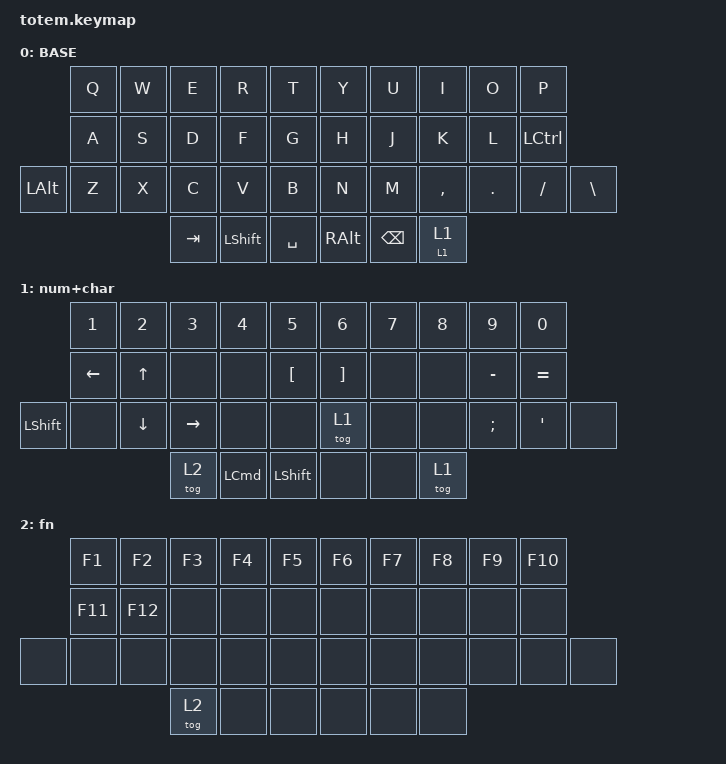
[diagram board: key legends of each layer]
//
//                                                        ▀▀▀▀▀     ▀▀▀▀▀          ▀▀█▀▀
//                                                        ▄▀▀▀▄  ▄  ▄▀▀▀▄  ▄  ▄▀▀▀▄  █  ▄▀▀▀▄
//                                                        █   █  █  █   █  █  █   █  █  █   █
//                                                         ▀▀▀   █   ▀▀▀   █   ▀▀▀   ▀   ▀▀▀
//                                                               █      ▄▄▄█▄▄▄    █   █  
//                                                               ▀      █  █  █     █▄█
//                                                             ▀▀▀▀▀    █  █  █      ▀
//                                                                      ▀  ▀  ▀
//
// ▄▄▄▄▄▄▄▄▄▄▄▄▄▄▄▄▄▄▄▄▄▄▄▄▄▄▄▄▄▄▄▄▄▄▄▄▄▄▄▄▄▄▄▄▄▄▄▄▄▄▄▄▄▄▄▄▄▄▄▄▄▄▄▄▄▄▄▄▄▄▄▄▄▄▄▄▄▄▄▄▄▄▄▄▄▄▄▄▄▄▄▄▄▄▄▄▄▄▄▄▄▄▄▄▄▄▄▄▄▄▄▄▄▄▄▄▄▄▄▄▄▄▄▄▄▄▄▄▄▄▄▄▄▄▄▄▄▄▄▄▄▄▄▄▄▄▄▄▄

#include <behaviors.dtsi>
#include <dt-bindings/zmk/keys.h>

#define BASE 0
#define NAV  1
#define SYM  2
#define ADJ  3
#define TVP1 4
#define TVP2 5

/ {
    combos {
        compatible = "zmk,combos";

        combo_esc {
            timeout-ms = <50>;
            key-positions = <1 0>;
            bindings = <&kp ESC>;
        };

        combo_tvp {
            timeout-ms = <100>;
            key-positions = <11 12 10>;
            bindings = <&kp LEFT_COMMAND>;
        };

        enter {
            bindings = <&kp KP_ENTER>;
            key-positions = <17 18 19>;
            timeout-ms = <100>;
        };
    };

    behaviors {
        togleandmo: togleandmo {
            compatible = "zmk,behavior-hold-tap";
            label = "TOGLEANDMO";
            bindings = <&mo>, <&tog>;

            #binding-cells = <2>;
            tapping-term-ms = <150>;
        };
    };

    keymap {
        compatible = "zmk,keymap";

        // ▄▄▄▄▄▄▄▄▄▄▄▄▄▄▄▄▄▄▄▄▄▄▄▄▄▄▄▄▄▄▄▄▄▄▄▄▄▄▄▄▄▄▄▄▄▄▄▄▄▄▄▄▄▄▄▄▄▄▄▄▄▄▄▄▄▄▄▄▄▄▄▄▄▄▄▄▄▄▄▄▄▄▄▄▄▄▄▄▄▄▄▄▄▄▄▄▄▄▄▄▄▄▄▄▄▄▄▄▄▄▄▄▄▄▄▄▄▄▄▄▄▄▄▄▄▄▄▄▄▄▄▄▄▄▄▄▄▄▄▄▄▄▄▄▄▄▄▄▄

        base_layer {
            // ┏━━━━━━━━━━━━━━━━━━━━━━━━━━━━━━━━━━━━━━━┓

            label = "BASE";

            // ┗━━━━━━━━━━━━━━━━━━━━━━━━━━━━━━━━━━━━━━━┛
            //             ┏━━━━━━━━━━━┳━━━━━━━━━━━┳━━━━━━━━━━━┳━━━━━━━━━━━┳━━━━━━━━━━━┓   ┏━━━━━━━━━━━┳━━━━━━━━━━━┳━━━━━━━━━━━┳━━━━━━━━━━━┳━━━━━━━━━━━┓
            //             ┃     Q     ┃     W     ┃     F     ┃     P     ┃     G     ┃   ┃     J     ┃     L     ┃     U     ┃     Y     ┃     ;     ┃
            //             ┣━━━━━━━━━━━╋━━━━━━━━━━━╋━━━━━━━━━━━╋━━━━━━━━━━━╋━━━━━━━━━━━┫   ┣━━━━━━━━━━━╋━━━━━━━━━━━╋━━━━━━━━━━━╋━━━━━━━━━━━╋━━━━━━━━━━━┫
            //             ┃     A     ┃     R     ┃     S     ┃     T     ┃     D     ┃   ┃     H     ┃     N     ┃     E     ┃     I     ┃     O     ┃
            // ┏━━━━━━━━━━━╋━━━━━━━━━━━╋━━━━━━━━━━━╋━━━━━━━━━━━╋━━━━━━━━━━━╋━━━━━━━━━━━┫   ┣━━━━━━━━━━━╋━━━━━━━━━━━╋━━━━━━━━━━━╋━━━━━━━━━━━╋━━━━━━━━━━━╋━━━━━━━━━━━┓
            // ┃     Q     ┃     Z     ┃     X     ┃     C     ┃     V     ┃     B     ┃   ┃     K     ┃     M     ┃     ,     ┃     .     ┃     /     ┃     \     ┃
            // ┗━━━━━━━━━━━┻━━━━━━━━━━━┻━━━━━━━━━━━╋━━━━━━━━━━━╋━━━━━━━━━━━╋━━━━━━━━━━━┫   ┣━━━━━━━━━━━╋━━━━━━━━━━━╋━━━━━━━━━━━╋━━━━━━━━━━━┻━━━━━━━━━━━┻━━━━━━━━━━━┛
            //                                     ┃    DEL    ┃    TAB    ┃    SPC    ┃   ┃   ENTER   ┃           ┃   BSPC    ┃
            //                                     ┗━━━━━━━━━━━┻━━━━━━━━━━━┻━━━━━━━━━━━┛   ┗━━━━━━━━━━━┻━━━━━━━━━━━┻━━━━━━━━━━━┛

            bindings = <
              &kp Q  &kp W  &kp E    &kp R           &kp T        &kp Y     &kp U          &kp I            &kp O    &kp P
              &kp A  &kp S  &kp D    &kp F           &kp G        &kp H     &kp J          &kp K            &kp L    &kp LEFT_CONTROL
&kp LEFT_ALT  &kp Z  &kp X  &kp C    &kp V           &kp B        &kp N     &kp M          &kp COMMA        &kp DOT  &kp FSLH          &kp BSLH
                            &kp TAB  &kp LEFT_SHIFT  &kp SPACE    &kp RALT  &kp BACKSPACE  &togleandmo 1 1
            >;
        };

        // ▄▄▄▄▄▄▄▄▄▄▄▄▄▄▄▄▄▄▄▄▄▄▄▄▄▄▄▄▄▄▄▄▄▄▄▄▄▄▄▄▄▄▄▄▄▄▄▄▄▄▄▄▄▄▄▄▄▄▄▄▄▄▄▄▄▄▄▄▄▄▄▄▄▄▄▄▄▄▄▄▄▄▄▄▄▄▄▄▄▄▄▄▄▄▄▄▄▄▄▄▄▄▄▄▄▄▄▄▄▄▄▄▄▄▄▄▄▄▄▄▄▄▄▄▄▄▄▄▄▄▄▄▄▄▄▄▄▄▄▄▄▄▄▄▄▄▄▄▄
        // ▄▄▄▄▄▄▄▄▄▄▄▄▄▄▄▄▄▄▄▄▄▄▄▄▄▄▄▄▄▄▄▄▄▄▄▄▄▄▄▄▄▄▄▄▄▄▄▄▄▄▄▄▄▄▄▄▄▄▄▄▄▄▄▄▄▄▄▄▄▄▄▄▄▄▄▄▄▄▄▄▄▄▄▄▄▄▄▄▄▄▄▄▄▄▄▄▄▄▄▄▄▄▄▄▄▄▄▄▄▄▄▄▄▄▄▄▄▄▄▄▄▄▄▄▄▄▄▄▄▄▄▄▄▄▄▄▄▄▄▄▄▄▄▄▄▄▄▄▄
        // ▄▄▄▄▄▄▄▄▄▄▄▄▄▄▄▄▄▄▄▄▄▄▄▄▄▄▄▄▄▄▄▄▄▄▄▄▄▄▄▄▄▄▄▄▄▄▄▄▄▄▄▄▄▄▄▄▄▄▄▄▄▄▄▄▄▄▄▄▄▄▄▄▄▄▄▄▄▄▄▄▄▄▄▄▄▄▄▄▄▄▄▄▄▄▄▄▄▄▄▄▄▄▄▄▄▄▄▄▄▄▄▄▄▄▄▄▄▄▄▄▄▄▄▄▄▄▄▄▄▄▄▄▄▄▄▄▄▄▄▄▄▄▄▄▄▄▄▄▄
        // ▄▄▄▄▄▄▄▄▄▄▄▄▄▄▄▄▄▄▄▄▄▄▄▄▄▄▄▄▄▄▄▄▄▄▄▄▄▄▄▄▄▄▄▄▄▄▄▄▄▄▄▄▄▄▄▄▄▄▄▄▄▄▄▄▄▄▄▄▄▄▄▄▄▄▄▄▄▄▄▄▄▄▄▄▄▄▄▄▄▄▄▄▄▄▄▄▄▄▄▄▄▄▄▄▄▄▄▄▄▄▄▄▄▄▄▄▄▄▄▄▄▄▄▄▄▄▄▄▄▄▄▄▄▄▄▄▄▄▄▄▄▄▄▄▄▄▄▄▄
        // ▄▄▄▄▄▄▄▄▄▄▄▄▄▄▄▄▄▄▄▄▄▄▄▄▄▄▄▄▄▄▄▄▄▄▄▄▄▄▄▄▄▄▄▄▄▄▄▄▄▄▄▄▄▄▄▄▄▄▄▄▄▄▄▄▄▄▄▄▄▄▄▄▄▄▄▄▄▄▄▄▄▄▄▄▄▄▄▄▄▄▄▄▄▄▄▄▄▄▄▄▄▄▄▄▄▄▄▄▄▄▄▄▄▄▄▄▄▄▄▄▄▄▄▄▄▄▄▄▄▄▄▄▄▄▄▄▄▄▄▄▄▄▄▄▄▄▄▄▄

        num+char {
            bindings = <
                &kp N1    &kp N2        &kp N3     &kp N4            &kp N5              &kp N6             &kp N7  &kp N8  &kp N9     &kp N0
                &kp LEFT  &kp UP_ARROW  &none      &none             &kp LEFT_BRACKET    &kp RIGHT_BRACKET  &none   &none   &kp MINUS  &kp EQUAL
&kp LEFT_SHIFT  &none     &kp DOWN      &kp RIGHT  &none             &none               &tog 1             &none   &none   &kp SEMI   &kp SQT    &none
                                        &tog 2     &kp LEFT_COMMAND  &kp LEFT_SHIFT      &none              &none   &tog 1
            >;
        };

        fn {
            bindings = <
       &kp F1   &kp F2   &kp F3  &kp F4  &kp F5    &kp F6  &kp F7  &kp F8  &kp F9  &kp F10
       &kp F11  &kp F12  &none   &none   &none     &none   &none   &none   &none   &none
&none  &none    &none    &none   &none   &none     &none   &none   &none   &none   &none    &none
                         &tog 2  &none   &none     &none   &none   &none
            >;
        };
    };
};
